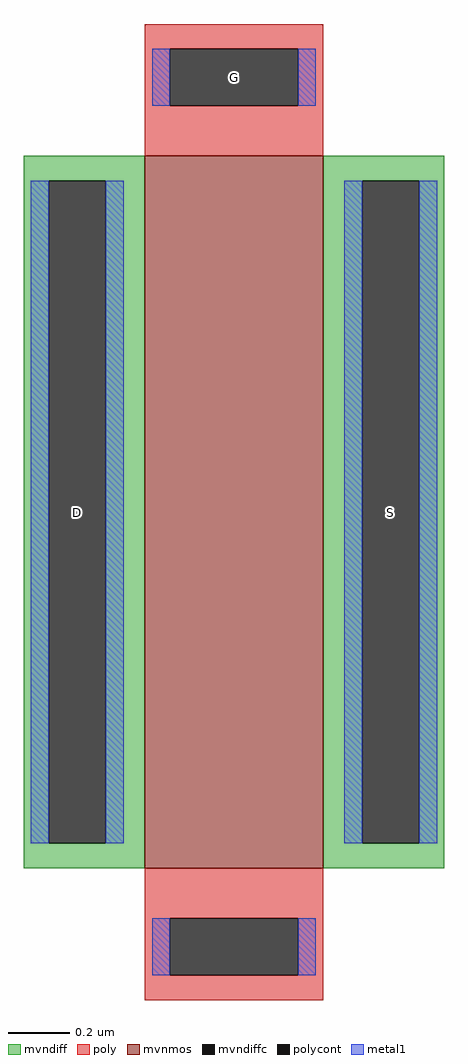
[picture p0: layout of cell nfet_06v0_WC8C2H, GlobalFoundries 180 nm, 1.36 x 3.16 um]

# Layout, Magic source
magic
tech gf180mcuD
magscale 3 13
<< mvnmos >>
rect -25 -100 25 100
<< mvndiff >>
rect -59 93 -25 100
rect -59 -93 -52 93
rect -36 -93 -25 93
rect -59 -100 -25 -93
rect 25 93 59 100
rect 25 -93 36 93
rect 52 -93 59 93
rect 25 -100 59 -93
<< mvndiffc >>
rect -52 -93 -36 93
rect 36 -93 52 93
<< poly >>
rect -25 130 25 137
rect -25 114 -18 130
rect 18 114 25 130
rect -25 100 25 114
rect -25 -114 25 -100
rect -25 -130 -18 -114
rect 18 -130 25 -114
rect -25 -137 25 -130
<< polycont >>
rect -18 114 18 130
rect -18 -130 18 -114
<< metal1 >>
rect -23 114 -18 130
rect 18 114 23 130
rect -57 -93 -52 93
rect -36 -93 -31 93
rect 31 -93 36 93
rect 52 -93 57 93
rect -23 -130 -18 -114
rect 18 -130 23 -114
<< labels >>
rlabel mvndiffc -44 0 -44 0 0 D
port 1 nsew
rlabel mvndiffc 44 0 44 0 0 S
port 2 nsew
rlabel polycont 0 122 0 122 0 G
port 3 nsew
<< properties >>
string gencell nfet_05v0
string library gf180mcu
string parameters w 2.0 l 0.5 m 1 ng 1 diffcov 100 polycov 100 guard 0 glc 1 grc 1 gtc 1 gbc 1 tbcov 100 rlcov 100 topc 1 botc 1 poverlap 0 doverlap 1 lmin 0.45 wmin 0.15 class mosfet compatible {nfet_05v0 nfet_06v0} full_metal 1 conn_gates 0 gate_ring 0 doports 1 viasrc 0 viadrn 0 viagate 0 ccols 1 viagb 0 viagr 0 viagl 0 viagt 0
<< end >>
